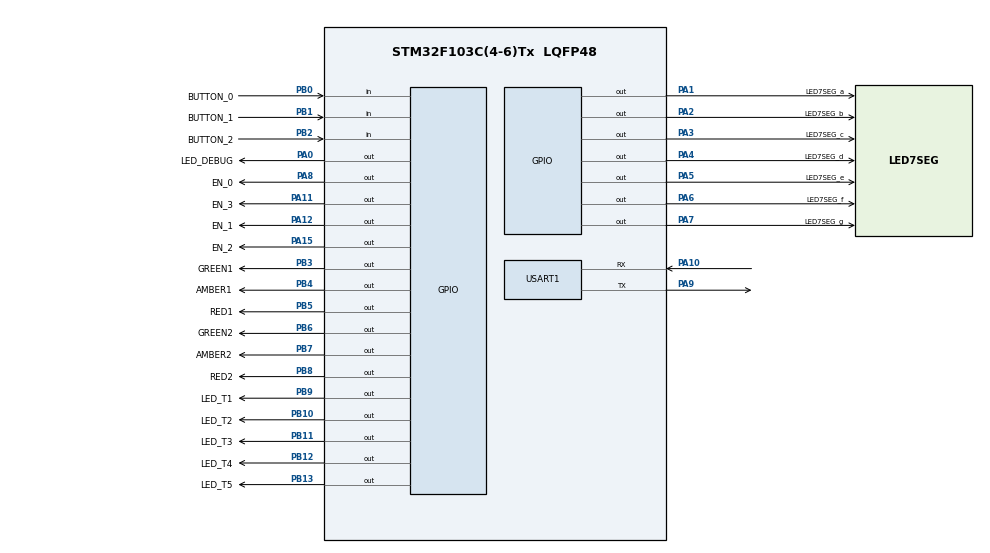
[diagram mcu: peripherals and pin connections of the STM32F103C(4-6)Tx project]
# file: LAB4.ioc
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Mcu.Family=STM32F1
Mcu.Name=STM32F103C(4-6)Tx
Mcu.Package=LQFP48
NVIC.PriorityGroup=NVIC_PRIORITYGROUP_4
NVIC.TIM2_IRQn=true\:0\:0\:false\:false\:true\:true\:true\:true
NVIC.USART1_IRQn=true\:0\:0\:false\:false\:true\:true\:true\:true
PA0-WKUP.GPIO_Label=LED_DEBUG
PA0-WKUP.PinState=GPIO_PIN_SET
PA0-WKUP.Signal=GPIO_Output
PA1.GPIO_Label=LED7SEG_a
PA1.PinState=GPIO_PIN_SET
PA1.Signal=GPIO_Output
PA10.Mode=Asynchronous
PA10.Signal=USART1_RX
PA11.GPIO_Label=EN_3
PA11.PinState=GPIO_PIN_SET
PA11.Signal=GPIO_Output
PA12.GPIO_Label=EN_1
PA12.PinState=GPIO_PIN_SET
PA12.Signal=GPIO_Output
PA15.GPIO_Label=EN_2
PA15.PinState=GPIO_PIN_SET
PA15.Signal=GPIO_Output
PA2.GPIO_Label=LED7SEG_b
PA2.PinState=GPIO_PIN_SET
PA2.Signal=GPIO_Output
PA3.GPIO_Label=LED7SEG_c
PA3.PinState=GPIO_PIN_SET
PA3.Signal=GPIO_Output
PA4.GPIO_Label=LED7SEG_d
PA4.PinState=GPIO_PIN_SET
PA4.Signal=GPIO_Output
PA5.GPIO_Label=LED7SEG_e
PA5.PinState=GPIO_PIN_SET
PA5.Signal=GPIO_Output
PA6.GPIO_Label=LED7SEG_f
PA6.PinState=GPIO_PIN_SET
PA6.Signal=GPIO_Output
PA7.GPIO_Label=LED7SEG_g
PA7.PinState=GPIO_PIN_SET
PA7.Signal=GPIO_Output
PA8.GPIO_Label=EN_0
PA8.PinState=GPIO_PIN_SET
PA8.Signal=GPIO_Output
PA9.Mode=Asynchronous
PA9.Signal=USART1_TX
PB0.GPIO_Label=BUTTON_0
PB0.Signal=GPIO_Input
PB1.GPIO_Label=BUTTON_1
PB1.Signal=GPIO_Input
PB10.GPIO_Label=LED_T2
PB10.PinState=GPIO_PIN_SET
PB10.Signal=GPIO_Output
PB11.GPIO_Label=LED_T3
PB11.PinState=GPIO_PIN_SET
PB11.Signal=GPIO_Output
PB12.GPIO_Label=LED_T4
PB12.PinState=GPIO_PIN_SET
PB12.Signal=GPIO_Output
PB13.GPIO_Label=LED_T5
PB13.PinState=GPIO_PIN_SET
PB13.Signal=GPIO_Output
PB2.GPIO_Label=BUTTON_2
PB2.Signal=GPIO_Input
PB3.GPIO_Label=GREEN1
PB3.PinState=GPIO_PIN_SET
PB3.Signal=GPIO_Output
PB4.GPIO_Label=AMBER1
PB4.PinState=GPIO_PIN_SET
PB4.Signal=GPIO_Output
PB5.GPIO_Label=RED1
PB5.PinState=GPIO_PIN_SET
PB5.Signal=GPIO_Output
PB6.GPIO_Label=GREEN2
PB6.PinState=GPIO_PIN_SET
PB6.Signal=GPIO_Output
PB7.GPIO_Label=AMBER2
PB7.PinState=GPIO_PIN_SET
PB7.Signal=GPIO_Output
PB8.GPIO_Label=RED2
PB8.PinState=GPIO_PIN_SET
PB8.Signal=GPIO_Output
PB9.GPIO_Label=LED_T1
PB9.PinState=GPIO_PIN_SET
PB9.Signal=GPIO_Output
ProjectManager.HeapSize=0x200
ProjectManager.StackSize=0x400
ProjectManager.TargetToolchain=STM32CubeIDE
RCC.APB1Freq_Value=8000000
RCC.APB2Freq_Value=8000000
TIM2.Period=999
TIM2.Prescaler=79
USART1.VirtualMode=VM_ASYNC
VP_SYS_VS_ND.Mode=No_Debug
VP_TIM2_VS_ClockSourceINT.Mode=Internal
board=custom

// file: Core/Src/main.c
/* USER CODE BEGIN Header */
/**
  ******************************************************************************
  * @file           : main.c
  * @brief          : Main program body
  ******************************************************************************
  * @attention
  *
  * Copyright (c) 2026 STMicroelectronics.
  * All rights reserved.
  *
  * This software is licensed under terms that can be found in the LICENSE file
  * in the root directory of this software component.
  * If no LICENSE file comes with this software, it is provided AS-IS.
  *
  ******************************************************************************
  */
/* USER CODE END Header */
#include "main.h"
#include "tim.h"
#include "usart.h"
#include "gpio.h"

/* USER CODE BEGIN Includes */
#include <stdio.h>
#include "scheduler.h"
/* USER CODE END Includes */

void SystemClock_Config(void);

/* USER CODE BEGIN 0 */
/* Print "[    1500 ms] T3 1.5s" so each callback shows when it really ran. */
static void log_task(const char *name) {
	char buf[72];
	int len = snprintf(buf, sizeof(buf), "[%8lu ms] %s\r\n",
			(unsigned long)SCH_Get_Time(), name);
	HAL_UART_Transmit(&huart1, (uint8_t *)buf, len, 10);
}

/* Each task toggles its own LED, so LED_Tn blinks with half its task rate. */
static void task_0_5s(void) {
	HAL_GPIO_TogglePin(LED_T1_GPIO_Port, LED_T1_Pin);
	log_task("T1 0.5s");
}

static void task_1s(void) {
	HAL_GPIO_TogglePin(LED_T2_GPIO_Port, LED_T2_Pin);
	log_task("T2 1s");
}

static void task_1_5s(void) {
	HAL_GPIO_TogglePin(LED_T3_GPIO_Port, LED_T3_Pin);
	log_task("T3 1.5s");
}

static void task_2s(void) {
	HAL_GPIO_TogglePin(LED_T4_GPIO_Port, LED_T4_Pin);
	log_task("T4 2s");
}

static void task_2_5s(void) {
	HAL_GPIO_TogglePin(LED_T5_GPIO_Port, LED_T5_Pin);
	log_task("T5 2.5s");
}

/* Demo: a 10 ms timeout printing get_time, removed by ID after 100 ms. */
static uint32_t tick_10ms_id = SCH_NO_TASK_ID;

static void task_10ms(void) {
	log_task("tick 10ms");
}

static void stop_10ms(void) {
	char msg[56];
	uint8_t first = SCH_Delete_Task(tick_10ms_id);
	uint8_t again = SCH_Delete_Task(tick_10ms_id);   /* stale ID -> 0 */
	snprintf(msg, sizeof(msg), "delete ID 0x%04lX -> %u, again -> %u",
			(unsigned long)tick_10ms_id, first, again);
	log_task(msg);
}

/* Demo: one-shot timeouts set up before the main loop. */
static void once_250ms(void) {
	log_task("one-shot 250 ms");
}

static void once_1250ms(void) {
	log_task("one-shot 1250 ms");
}

static void once_3330ms(void) {
	log_task("one-shot 3330 ms");
}
/* USER CODE END 0 */

int main(void)
{

  /* MCU Configuration--------------------------------------------------------*/

  /* Reset of all peripherals, Initializes the Flash interface and the Systick. */
  HAL_Init();

  /* Configure the system clock */
  SystemClock_Config();

  /* Initialize all configured peripherals */
  MX_GPIO_Init();
  MX_TIM2_Init();
  MX_USART1_UART_Init();
  /* USER CODE BEGIN 2 */
  SCH_Init();
  HAL_TIM_Base_Start_IT(&htim2);
  /* DELAY = PERIOD: first run after one period, then every period (ms). */
  SCH_Add_Task(task_0_5s, 500, 500);
  SCH_Add_Task(task_1s, 1000, 1000);
  SCH_Add_Task(task_1_5s, 1500, 1500);
  SCH_Add_Task(task_2s, 2000, 2000);
  SCH_Add_Task(task_2_5s, 2500, 2500);

  /* 10 ms timeout: runs at 10, 20, ..., 100 ms. stop_10ms is due at 100 ms
   * too but registered later, so the last tick prints before the delete. */
  tick_10ms_id = SCH_Add_Task(task_10ms, 10, 10);
  SCH_Add_Task(stop_10ms, 100, 0);

  /* One-shots (PERIOD = 0); all fire long after the main loop starts. */
  SCH_Add_Task(once_250ms, 250, 0);
  SCH_Add_Task(once_1250ms, 1250, 0);
  SCH_Add_Task(once_3330ms, 3330, 0);

  log_task("Lab 4 scheduler demo start");
  /* USER CODE END 2 */

  /* Infinite loop */
  while (1)
  {

    /* USER CODE BEGIN 3 */
    SCH_Dispatch_Tasks();
  }
  /* USER CODE END 3 */
}

void SystemClock_Config(void)
{
  RCC_OscInitTypeDef RCC_OscInitStruct = {0};
  RCC_ClkInitTypeDef RCC_ClkInitStruct = {0};

  /** Initializes the RCC Oscillators according to the specified parameters
  * in the RCC_OscInitTypeDef structure.
  */
  RCC_OscInitStruct.OscillatorType = RCC_OSCILLATORTYPE_HSI;
  RCC_OscInitStruct.HSIState = RCC_HSI_ON;
  RCC_OscInitStruct.HSICalibrationValue = RCC_HSICALIBRATION_DEFAULT;
  RCC_OscInitStruct.PLL.PLLState = RCC_PLL_NONE;
  if (HAL_RCC_OscConfig(&RCC_OscInitStruct) != HAL_OK)
  {
    Error_Handler();
  }

  /** Initializes the CPU, AHB and APB buses clocks
  */
  RCC_ClkInitStruct.ClockType = RCC_CLOCKTYPE_HCLK|RCC_CLOCKTYPE_SYSCLK
                              |RCC_CLOCKTYPE_PCLK1|RCC_CLOCKTYPE_PCLK2;
  RCC_ClkInitStruct.SYSCLKSource = RCC_SYSCLKSOURCE_HSI;
  RCC_ClkInitStruct.AHBCLKDivider = RCC_SYSCLK_DIV1;
  RCC_ClkInitStruct.APB1CLKDivider = RCC_HCLK_DIV1;
  RCC_ClkInitStruct.APB2CLKDivider = RCC_HCLK_DIV1;

  if (HAL_RCC_ClockConfig(&RCC_ClkInitStruct, FLASH_LATENCY_0) != HAL_OK)
  {
    Error_Handler();
  }
}

/* USER CODE BEGIN 4 */
void HAL_TIM_PeriodElapsedCallback(TIM_HandleTypeDef *htim) {
	if (htim->Instance == TIM2) {
		SCH_Update();
	}
}
/* USER CODE END 4 */

void Error_Handler(void)
{
  __disable_irq();
  while (1)
  {
  }
}
